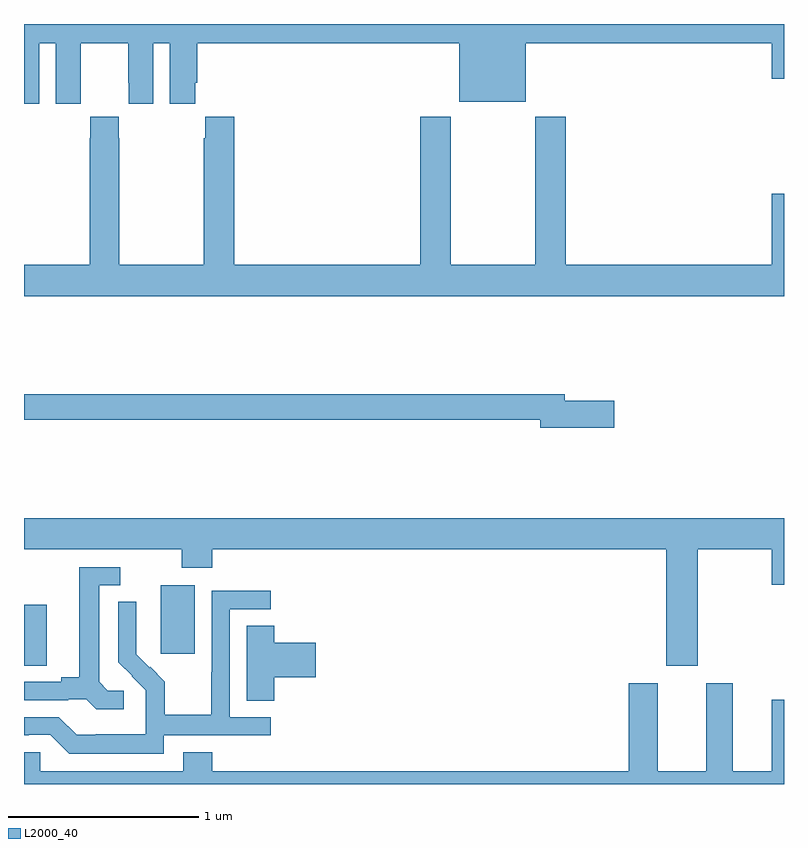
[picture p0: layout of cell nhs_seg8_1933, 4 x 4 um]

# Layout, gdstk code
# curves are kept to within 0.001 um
import gdstk
lib = gdstk.Library(unit=1e-6, precision=1e-09)
def R(c, l, rs):  # rectangles x0, y0, x1, y1
    for r in rs: c.add(gdstk.rectangle(r[:2], r[2:], *l))
def P(c, l, *ps):  # polygons
    for p in ps: c.add(gdstk.Polygon(p, *l))
L2000_40 = (2000, 40)

nhs_seg8_1933 = lib.new_cell('nhs_seg8_1933')
R(nhs_seg8_1933, L2000_40, [(233,1146.523,233.119,1146.843), (233.72,1146.585,233.899,1146.946)])
P(nhs_seg8_1933, L2000_40, [(233.08,1149.8),(233.168,1149.8),(233.168,1149.48),(233.298,1149.48),(233.298,1149.592),(233.299,1149.592),(233.299,1149.8),(233.549,1149.8),(233.549,1149.592),(233.55,1149.592),(233.55,1149.48),(233.68,1149.48),(233.68,1149.8),(233.768,1149.8),(233.768,1149.48),(233.902,1149.48),(233.902,1149.592),(233.912,1149.592),(233.912,1149.8),(235.292,1149.8),(235.292,1149.491),(235.642,1149.491),(235.642,1149.8),(236.936,1149.8),(236.936,1149.612),(237,1149.612),(237,1149.9),(233,1149.9),(233,1149.48),(233.08,1149.48)],
  [(237,1149.007),(236.936,1149.007),(236.936,1148.632),(235.85,1148.632),(235.85,1149.412),(235.69,1149.412),(235.69,1148.632),(235.245,1148.632),(235.245,1149.412),(235.085,1149.412),(235.085,1148.632),(234.107,1148.632),(234.107,1149.412),(233.953,1149.412),(233.953,1149.299),(233.947,1149.299),(233.947,1148.632),(233.502,1148.632),(233.502,1149.299),(233.499,1149.299),(233.499,1149.412),(233.349,1149.412),(233.349,1149.299),(233.347,1149.299),(233.347,1148.632),(233,1148.632),(233,1148.468),(237,1148.468)],
  [(236.107,1147.916),(235.846,1147.916),(235.846,1147.952),(233,1147.952),(233,1147.816),(235.718,1147.816),(235.718,1147.774),(236.107,1147.774)],
  [(236.545,1147.136),(236.936,1147.136),(236.936,1146.948),(237,1146.948),(237,1147.3),(233,1147.3),(233,1147.136),(233.83,1147.136),(233.83,1147.037),(233.99,1147.037),(233.99,1147.136),(236.381,1147.136),(236.381,1146.522),(236.545,1146.522)],
  [(233.524,1146.39),(233.442,1146.39),(233.395,1146.437),(233.395,1146.945),(233.506,1146.945),(233.506,1147.041),(233.291,1147.041),(233.291,1146.461),(233.195,1146.461),(233.195,1146.438),(233,1146.438),(233,1146.342),(233.234,1146.342),(233.234,1146.345),(233.328,1146.345),(233.38,1146.293),(233.524,1146.293)],
  [(233.736,1146.156),(234.298,1146.156),(234.298,1146.252),(234.084,1146.252),(234.084,1146.819),(234.298,1146.819),(234.298,1146.918),(233.988,1146.918),(233.988,1146.488),(233.986,1146.488),(233.986,1146.265),(233.741,1146.265),(233.741,1146.439),(233.664,1146.516),(233.661,1146.513),(233.591,1146.584),(233.592,1146.86),(233.496,1146.86),(233.496,1146.542),(233.642,1146.394),(233.642,1146.297),(233.64,1146.297),(233.64,1146.163),(233.377,1146.163),(233.377,1146.159),(233.277,1146.159),(233.184,1146.252),(233,1146.252),(233,1146.156),(233.024,1146.156),(233.024,1146.159),(233.139,1146.159),(233.239,1146.059),(233.736,1146.059)],
  [(234.317,1146.461),(234.535,1146.461),(234.535,1146.644),(234.317,1146.644),(234.317,1146.734),(234.173,1146.734),(234.173,1146.337),(234.317,1146.337)],
  [(237,1146.343),(236.936,1146.343),(236.936,1145.968),(236.731,1145.968),(236.731,1146.43),(236.591,1146.43),(236.591,1145.968),(236.335,1145.968),(236.335,1146.43),(236.183,1146.43),(236.183,1145.968),(233.99,1145.968),(233.99,1146.067),(233.837,1146.067),(233.837,1145.968),(233.085,1145.968),(233.085,1146.066),(233,1146.066),(233,1145.9),(237,1145.9)])

lib.write_gds('nhs_seg8_1933.gds')
